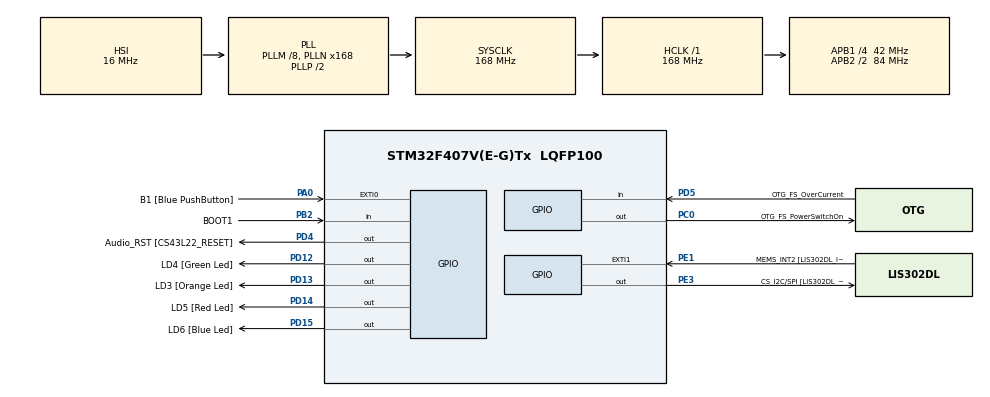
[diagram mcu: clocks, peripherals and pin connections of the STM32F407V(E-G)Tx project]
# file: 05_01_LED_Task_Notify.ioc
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Mcu.Family=STM32F4
Mcu.Name=STM32F407V(E-G)Tx
Mcu.Package=LQFP100
NVIC.PriorityGroup=NVIC_PRIORITYGROUP_4
NVIC.TIM6_DAC_IRQn=true\:0\:0\:false\:false\:true\:false\:true\:true
NVIC.TimeBase=TIM6_DAC_IRQn
NVIC.TimeBaseIP=TIM6
PA0-WKUP.GPIO_Label=B1 [Blue PushButton]
PA0-WKUP.Signal=GPXTI0
PA10.GPIO_Label=OTG_FS_ID
PA10.GPIO_Mode=GPIO_MODE_AF_PP
PA10.GPIO_PuPd=GPIO_NOPULL
PA10.GPIO_Speed=GPIO_SPEED_FREQ_LOW
PA10.Signal=USB_OTG_FS_ID
PA11.GPIO_Label=OTG_FS_DM
PA11.GPIO_Mode=GPIO_MODE_AF_PP
PA11.GPIO_PuPd=GPIO_NOPULL
PA11.GPIO_Speed=GPIO_SPEED_FREQ_LOW
PA11.Signal=USB_OTG_FS_DM
PA12.GPIO_Label=OTG_FS_DP
PA12.GPIO_Mode=GPIO_MODE_AF_PP
PA12.GPIO_PuPd=GPIO_NOPULL
PA12.GPIO_Speed=GPIO_SPEED_FREQ_LOW
PA12.Signal=USB_OTG_FS_DP
PA13.GPIO_Label=SWDIO
PA13.Mode=Serial_Wire
PA13.Signal=SYS_JTMS-SWDIO
PA14.GPIO_Label=SWCLK
PA14.Mode=Serial_Wire
PA14.Signal=SYS_JTCK-SWCLK
PA4.GPIO_Label=I2S3_WS [CS43L22_LRCK]
PA4.GPIO_Mode=GPIO_MODE_AF_PP
PA4.GPIO_PuPd=GPIO_NOPULL
PA4.GPIO_Speed=GPIO_SPEED_FREQ_LOW
PA4.Signal=I2S3_WS
PA5.GPIO_Label=SPI1_SCK [LIS302DL_SCL/SPC]
PA5.GPIO_Mode=GPIO_MODE_AF_PP
PA5.GPIO_PuPd=GPIO_NOPULL
PA5.GPIO_Speed=GPIO_SPEED_FREQ_LOW
PA5.Signal=SPI1_SCK
PA6.GPIO_Label=SPI1_MISO [LIS302DL_SDO]
PA6.GPIO_Mode=GPIO_MODE_AF_PP
PA6.GPIO_PuPd=GPIO_NOPULL
PA6.GPIO_Speed=GPIO_SPEED_FREQ_LOW
PA6.Signal=SPI1_MISO
PA7.GPIO_Label=SPI1_MOSI [LIS302DL_SDA/SDI/SDO]
PA7.GPIO_Mode=GPIO_MODE_AF_PP
PA7.GPIO_PuPd=GPIO_NOPULL
PA7.GPIO_Speed=GPIO_SPEED_FREQ_LOW
PA7.Signal=SPI1_MOSI
PA9.GPIO_Label=VBUS_FS
PA9.GPIO_Mode=GPIO_MODE_INPUT
PA9.GPIO_PuPd=GPIO_NOPULL
PA9.Signal=USB_OTG_FS_VBUS
PB10.GPIO_Label=CLK_IN [MP45DT02_CLK]
PB10.GPIO_Mode=GPIO_MODE_AF_PP
PB10.GPIO_PuPd=GPIO_NOPULL
PB10.GPIO_Speed=GPIO_SPEED_FREQ_LOW
PB10.Signal=I2S2_CK
PB2.GPIO_Label=BOOT1
PB2.GPIO_Mode=GPIO_MODE_INPUT
PB2.GPIO_PuPd=GPIO_NOPULL
PB2.Signal=GPIO_Input
PB3.GPIO_Label=SWO
PB3.Signal=SYS_JTDO-SWO
PB6.GPIO_Label=Audio_SCL [CS43L22_SCL]
PB6.GPIO_Mode=GPIO_MODE_AF_OD
PB6.GPIO_PuPd=GPIO_NOPULL
PB6.GPIO_Speed=GPIO_SPEED_FREQ_LOW
PB6.Signal=I2C1_SCL
PB9.GPIO_Label=Audio_SDA [CS43L22_SDA]
PB9.GPIO_Mode=GPIO_MODE_AF_OD
PB9.GPIO_PuPd=GPIO_NOPULL
PB9.GPIO_Speed=GPIO_SPEED_FREQ_LOW
PB9.Signal=I2C1_SDA
PC0.GPIO_Label=OTG_FS_PowerSwitchOn
PC0.GPIO_PuPd=GPIO_NOPULL
PC0.GPIO_Speed=GPIO_SPEED_FREQ_LOW
PC0.PinState=GPIO_PIN_SET
PC0.Signal=GPIO_Output
PC10.GPIO_Label=I2S3_SCK [CS43L22_SCLK]
PC10.GPIO_Mode=GPIO_MODE_AF_PP
PC10.GPIO_PuPd=GPIO_NOPULL
PC10.GPIO_Speed=GPIO_SPEED_FREQ_LOW
PC10.Signal=I2S3_CK
PC12.GPIO_Label=I2S3_SD [CS43L22_SDIN]
PC12.GPIO_Mode=GPIO_MODE_AF_PP
PC12.GPIO_PuPd=GPIO_NOPULL
PC12.GPIO_Speed=GPIO_SPEED_FREQ_LOW
PC12.Signal=I2S3_SD
PC14-OSC32_IN.GPIO_Label=PC14-OSC32_IN
PC14-OSC32_IN.Signal=RCC_OSC32_IN
PC15-OSC32_OUT.GPIO_Label=PC15-OSC32_OUT
PC15-OSC32_OUT.Signal=RCC_OSC32_OUT
PC3.GPIO_Label=PDM_OUT [MP45DT02_DOUT]
PC3.GPIO_Mode=GPIO_MODE_AF_PP
PC3.GPIO_PuPd=GPIO_NOPULL
PC3.GPIO_Speed=GPIO_SPEED_FREQ_LOW
PC3.Signal=I2S2_SD
PC7.GPIO_Label=I2S3_MCK [CS43L22_MCLK]
PC7.GPIO_Mode=GPIO_MODE_AF_PP
PC7.GPIO_PuPd=GPIO_NOPULL
PC7.GPIO_Speed=GPIO_SPEED_FREQ_LOW
PC7.Signal=I2S3_MCK
PD12.GPIO_Label=LD4 [Green Led]
PD12.GPIO_PuPd=GPIO_NOPULL
PD12.GPIO_Speed=GPIO_SPEED_FREQ_LOW
PD12.Signal=GPIO_Output
PD13.GPIO_Label=LD3 [Orange Led]
PD13.GPIO_PuPd=GPIO_NOPULL
PD13.GPIO_Speed=GPIO_SPEED_FREQ_LOW
PD13.Signal=GPIO_Output
PD14.GPIO_Label=LD5 [Red Led]
PD14.GPIO_PuPd=GPIO_NOPULL
PD14.GPIO_Speed=GPIO_SPEED_FREQ_LOW
PD14.Signal=GPIO_Output
PD15.GPIO_Label=LD6 [Blue Led]
PD15.GPIO_PuPd=GPIO_NOPULL
PD15.GPIO_Speed=GPIO_SPEED_FREQ_LOW
PD15.Signal=GPIO_Output
PD4.GPIO_Label=Audio_RST [CS43L22_RESET]
PD4.GPIO_PuPd=GPIO_NOPULL
PD4.GPIO_Speed=GPIO_SPEED_FREQ_LOW
PD4.Signal=GPIO_Output
PD5.GPIO_Label=OTG_FS_OverCurrent
PD5.GPIO_Mode=GPIO_MODE_INPUT
PD5.GPIO_PuPd=GPIO_NOPULL
PD5.Signal=GPIO_Input
PE1.GPIO_Label=MEMS_INT2 [LIS302DL_INT2]
PE1.GPIO_ModeDefaultEXTI=GPIO_MODE_EVT_RISING
PE1.GPIO_PuPd=GPIO_NOPULL
PE1.Signal=GPXTI1
PE3.GPIO_Label=CS_I2C/SPI [LIS302DL_CS_I2C/SPI]
PE3.GPIO_PuPd=GPIO_NOPULL
PE3.GPIO_Speed=GPIO_SPEED_FREQ_LOW
PE3.Signal=GPIO_Output
PH0-OSC_IN.GPIO_Label=PH0-OSC_IN
PH0-OSC_IN.Signal=RCC_OSC_IN
PH1-OSC_OUT.GPIO_Label=PH1-OSC_OUT
PH1-OSC_OUT.Signal=RCC_OSC_OUT
ProjectManager.HeapSize=0x200
ProjectManager.StackSize=0x400
ProjectManager.TargetToolchain=STM32CubeIDE
RCC.48MHZClocksFreq_Value=48000000
RCC.AHBFreq_Value=168000000
RCC.APB1CLKDivider=RCC_HCLK_DIV4
RCC.APB1Freq_Value=42000000
RCC.APB1TimFreq_Value=84000000
RCC.APB2CLKDivider=RCC_HCLK_DIV2
RCC.APB2Freq_Value=84000000
RCC.APB2TimFreq_Value=168000000
RCC.CortexFreq_Value=168000000
RCC.HCLKFreq_Value=168000000
RCC.HSE_VALUE=8000000
RCC.HSI_VALUE=16000000
RCC.LSE_VALUE=32768
RCC.PLLM=8
RCC.PLLN=168
RCC.PLLQ=7
RCC.SYSCLKFreq_VALUE=168000000
RCC.SYSCLKSource=RCC_SYSCLKSOURCE_PLLCLK
RCC.VCOOutputFreq_Value=336000000
VP_SYS_VS_tim6.Mode=TIM6
board=STM32F407G-DISC1

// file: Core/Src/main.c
/* USER CODE BEGIN Header */
/**
  ******************************************************************************
  * @file           : main.c
  * @brief          : Main program body
  ******************************************************************************
  * @attention
  *
  * Copyright (c) 2026 STMicroelectronics.
  * All rights reserved.
  *
  * This software is licensed under terms that can be found in the LICENSE file
  * in the root directory of this software component.
  * If no LICENSE file comes with this software, it is provided AS-IS.
  *
  ******************************************************************************
  */
/* USER CODE END Header */
#include "main.h"

/* USER CODE BEGIN Includes */
#include <stdio.h>
#include "FreeRTOS.h"
#include "task.h"
/* USER CODE END Includes */

/* USER CODE BEGIN PV */
#define DWT_CTRL    (*(volatile uint32_t*)0xE0001000)
/* USER CODE END PV */

void SystemClock_Config(void);
static void MX_GPIO_Init(void);
/* USER CODE BEGIN PFP */
static void Green_LED_handler(void* parameters);
static void Orange_LED_handler(void* parameters);
static void Red_LED_handler(void* parameters);
static void Button_handler(void* parameters);

void SEGGER_UART_init(U32 baud);
/* USER CODE END PFP */

/* USER CODE BEGIN 0 */
TaskHandle_t green_LED_Handle;
TaskHandle_t orange_LED_Handle;
TaskHandle_t red_LED_Handle;
TaskHandle_t button_Handle;

TaskHandle_t volatile next_Task_Handle = NULL;
/* USER CODE END 0 */

int main(void)
{

  /* USER CODE BEGIN 1 */
	BaseType_t status;
  /* USER CODE END 1 */

  /* MCU Configuration--------------------------------------------------------*/

  /* Reset of all peripherals, Initializes the Flash interface and the Systick. */
  HAL_Init();

  /* Configure the system clock */
  SystemClock_Config();

  /* Initialize all configured peripherals */
  MX_GPIO_Init();
  /* USER CODE BEGIN 2 */

  //Enable the CYCCNT counter.
   DWT_CTRL |= ( 1 << 0);

   SEGGER_UART_init(500000);

   SEGGER_SYSVIEW_Conf();

   //SEGGER_SYSVIEW_Start();

   status = xTaskCreate(Green_LED_handler, "Green_LED_Task", 200, NULL, 3, &green_LED_Handle);

   configASSERT(status == pdPASS);

   next_Task_Handle = green_LED_Handle;

   status = xTaskCreate(Orange_LED_handler, "Orange_LED_Task", 200, NULL, 2, &orange_LED_Handle);

   configASSERT(status == pdPASS);

   status = xTaskCreate(Red_LED_handler, "Red_LED_Task", 200, NULL, 1, &red_LED_Handle);

   configASSERT(status == pdPASS);

   status = xTaskCreate(Button_handler, "Button_Task", 200, NULL, 4, &button_Handle);

   configASSERT(status == pdPASS);

   //	Start the freeRTOS scheduler
   vTaskStartScheduler();
   //	If the control comes here, then the launch of the scheduler has failed due to insufficient memory in heap

  /* USER CODE END 2 */

  /* Infinite loop */
  while (1)
  {

  }
}

void SystemClock_Config(void)
{
  RCC_OscInitTypeDef RCC_OscInitStruct = {0};
  RCC_ClkInitTypeDef RCC_ClkInitStruct = {0};

  /** Configure the main internal regulator output voltage
  */
  __HAL_RCC_PWR_CLK_ENABLE();
  __HAL_PWR_VOLTAGESCALING_CONFIG(PWR_REGULATOR_VOLTAGE_SCALE1);

  /** Initializes the RCC Oscillators according to the specified parameters
  * in the RCC_OscInitTypeDef structure.
  */
  RCC_OscInitStruct.OscillatorType = RCC_OSCILLATORTYPE_HSI;
  RCC_OscInitStruct.HSIState = RCC_HSI_ON;
  RCC_OscInitStruct.HSICalibrationValue = RCC_HSICALIBRATION_DEFAULT;
  RCC_OscInitStruct.PLL.PLLState = RCC_PLL_ON;
  RCC_OscInitStruct.PLL.PLLSource = RCC_PLLSOURCE_HSI;
  RCC_OscInitStruct.PLL.PLLM = 8;
  RCC_OscInitStruct.PLL.PLLN = 168;
  RCC_OscInitStruct.PLL.PLLP = RCC_PLLP_DIV2;
  RCC_OscInitStruct.PLL.PLLQ = 7;
  if (HAL_RCC_OscConfig(&RCC_OscInitStruct) != HAL_OK)
  {
    Error_Handler();
  }

  /** Initializes the CPU, AHB and APB buses clocks
  */
  RCC_ClkInitStruct.ClockType = RCC_CLOCKTYPE_HCLK|RCC_CLOCKTYPE_SYSCLK
                              |RCC_CLOCKTYPE_PCLK1|RCC_CLOCKTYPE_PCLK2;
  RCC_ClkInitStruct.SYSCLKSource = RCC_SYSCLKSOURCE_PLLCLK;
  RCC_ClkInitStruct.AHBCLKDivider = RCC_SYSCLK_DIV1;
  RCC_ClkInitStruct.APB1CLKDivider = RCC_HCLK_DIV4;
  RCC_ClkInitStruct.APB2CLKDivider = RCC_HCLK_DIV2;

  if (HAL_RCC_ClockConfig(&RCC_ClkInitStruct, FLASH_LATENCY_5) != HAL_OK)
  {
    Error_Handler();
  }
}

static void MX_GPIO_Init(void)
{
  GPIO_InitTypeDef GPIO_InitStruct = {0};

  /* GPIO Ports Clock Enable */
  __HAL_RCC_GPIOE_CLK_ENABLE();
  __HAL_RCC_GPIOC_CLK_ENABLE();
  __HAL_RCC_GPIOH_CLK_ENABLE();
  __HAL_RCC_GPIOA_CLK_ENABLE();
  __HAL_RCC_GPIOB_CLK_ENABLE();
  __HAL_RCC_GPIOD_CLK_ENABLE();

  /*Configure GPIO pin Output Level */
  HAL_GPIO_WritePin(CS_I2C_SPI_GPIO_Port, CS_I2C_SPI_Pin, GPIO_PIN_RESET);

  /*Configure GPIO pin Output Level */
  HAL_GPIO_WritePin(OTG_FS_PowerSwitchOn_GPIO_Port, OTG_FS_PowerSwitchOn_Pin, GPIO_PIN_SET);

  /*Configure GPIO pin Output Level */
  HAL_GPIO_WritePin(GPIOD, LD4_Pin|LD3_Pin|LD5_Pin|LD6_Pin
                          |Audio_RST_Pin, GPIO_PIN_RESET);

  /*Configure GPIO pin : CS_I2C_SPI_Pin */
  GPIO_InitStruct.Pin = CS_I2C_SPI_Pin;
  GPIO_InitStruct.Mode = GPIO_MODE_OUTPUT_PP;
  GPIO_InitStruct.Pull = GPIO_NOPULL;
  GPIO_InitStruct.Speed = GPIO_SPEED_FREQ_LOW;
  HAL_GPIO_Init(CS_I2C_SPI_GPIO_Port, &GPIO_InitStruct);

  /*Configure GPIO pin : OTG_FS_PowerSwitchOn_Pin */
  GPIO_InitStruct.Pin = OTG_FS_PowerSwitchOn_Pin;
  GPIO_InitStruct.Mode = GPIO_MODE_OUTPUT_PP;
  GPIO_InitStruct.Pull = GPIO_NOPULL;
  GPIO_InitStruct.Speed = GPIO_SPEED_FREQ_LOW;
  HAL_GPIO_Init(OTG_FS_PowerSwitchOn_GPIO_Port, &GPIO_InitStruct);

  /*Configure GPIO pin : PDM_OUT_Pin */
  GPIO_InitStruct.Pin = PDM_OUT_Pin;
  GPIO_InitStruct.Mode = GPIO_MODE_AF_PP;
  GPIO_InitStruct.Pull = GPIO_NOPULL;
  GPIO_InitStruct.Speed = GPIO_SPEED_FREQ_LOW;
  GPIO_InitStruct.Alternate = GPIO_AF5_SPI2;
  HAL_GPIO_Init(PDM_OUT_GPIO_Port, &GPIO_InitStruct);

  /*Configure GPIO pin : B1_Pin */
  GPIO_InitStruct.Pin = B1_Pin;
  GPIO_InitStruct.Mode = GPIO_MODE_IT_RISING;
  GPIO_InitStruct.Pull = GPIO_NOPULL;
  HAL_GPIO_Init(B1_GPIO_Port, &GPIO_InitStruct);

  /*Configure GPIO pin : I2S3_WS_Pin */
  GPIO_InitStruct.Pin = I2S3_WS_Pin;
  GPIO_InitStruct.Mode = GPIO_MODE_AF_PP;
  GPIO_InitStruct.Pull = GPIO_NOPULL;
  GPIO_InitStruct.Speed = GPIO_SPEED_FREQ_LOW;
  GPIO_InitStruct.Alternate = GPIO_AF6_SPI3;
  HAL_GPIO_Init(I2S3_WS_GPIO_Port, &GPIO_InitStruct);

  /*Configure GPIO pins : SPI1_SCK_Pin SPI1_MISO_Pin SPI1_MOSI_Pin */
  GPIO_InitStruct.Pin = SPI1_SCK_Pin|SPI1_MISO_Pin|SPI1_MOSI_Pin;
  GPIO_InitStruct.Mode = GPIO_MODE_AF_PP;
  GPIO_InitStruct.Pull = GPIO_NOPULL;
  GPIO_InitStruct.Speed = GPIO_SPEED_FREQ_LOW;
  GPIO_InitStruct.Alternate = GPIO_AF5_SPI1;
  HAL_GPIO_Init(GPIOA, &GPIO_InitStruct);

  /*Configure GPIO pin : BOOT1_Pin */
  GPIO_InitStruct.Pin = BOOT1_Pin;
  GPIO_InitStruct.Mode = GPIO_MODE_INPUT;
  GPIO_InitStruct.Pull = GPIO_NOPULL;
  HAL_GPIO_Init(BOOT1_GPIO_Port, &GPIO_InitStruct);

  /*Configure GPIO pin : CLK_IN_Pin */
  GPIO_InitStruct.Pin = CLK_IN_Pin;
  GPIO_InitStruct.Mode = GPIO_MODE_AF_PP;
  GPIO_InitStruct.Pull = GPIO_NOPULL;
  GPIO_InitStruct.Speed = GPIO_SPEED_FREQ_LOW;
  GPIO_InitStruct.Alternate = GPIO_AF5_SPI2;
  HAL_GPIO_Init(CLK_IN_GPIO_Port, &GPIO_InitStruct);

  /*Configure GPIO pins : LD4_Pin LD3_Pin LD5_Pin LD6_Pin
                           Audio_RST_Pin */
  GPIO_InitStruct.Pin = LD4_Pin|LD3_Pin|LD5_Pin|LD6_Pin
                          |Audio_RST_Pin;
  GPIO_InitStruct.Mode = GPIO_MODE_OUTPUT_PP;
  GPIO_InitStruct.Pull = GPIO_NOPULL;
  GPIO_InitStruct.Speed = GPIO_SPEED_FREQ_LOW;
  HAL_GPIO_Init(GPIOD, &GPIO_InitStruct);

  /*Configure GPIO pins : I2S3_MCK_Pin I2S3_SCK_Pin I2S3_SD_Pin */
  GPIO_InitStruct.Pin = I2S3_MCK_Pin|I2S3_SCK_Pin|I2S3_SD_Pin;
  GPIO_InitStruct.Mode = GPIO_MODE_AF_PP;
  GPIO_InitStruct.Pull = GPIO_NOPULL;
  GPIO_InitStruct.Speed = GPIO_SPEED_FREQ_LOW;
  GPIO_InitStruct.Alternate = GPIO_AF6_SPI3;
  HAL_GPIO_Init(GPIOC, &GPIO_InitStruct);

  /*Configure GPIO pin : VBUS_FS_Pin */
  GPIO_InitStruct.Pin = VBUS_FS_Pin;
  GPIO_InitStruct.Mode = GPIO_MODE_INPUT;
  GPIO_InitStruct.Pull = GPIO_NOPULL;
  HAL_GPIO_Init(VBUS_FS_GPIO_Port, &GPIO_InitStruct);

  /*Configure GPIO pins : OTG_FS_ID_Pin OTG_FS_DM_Pin OTG_FS_DP_Pin */
  GPIO_InitStruct.Pin = OTG_FS_ID_Pin|OTG_FS_DM_Pin|OTG_FS_DP_Pin;
  GPIO_InitStruct.Mode = GPIO_MODE_AF_PP;
  GPIO_InitStruct.Pull = GPIO_NOPULL;
  GPIO_InitStruct.Speed = GPIO_SPEED_FREQ_LOW;
  GPIO_InitStruct.Alternate = GPIO_AF10_OTG_FS;
  HAL_GPIO_Init(GPIOA, &GPIO_InitStruct);

  /*Configure GPIO pin : OTG_FS_OverCurrent_Pin */
  GPIO_InitStruct.Pin = OTG_FS_OverCurrent_Pin;
  GPIO_InitStruct.Mode = GPIO_MODE_INPUT;
  GPIO_InitStruct.Pull = GPIO_NOPULL;
  HAL_GPIO_Init(OTG_FS_OverCurrent_GPIO_Port, &GPIO_InitStruct);

  /*Configure GPIO pins : Audio_SCL_Pin Audio_SDA_Pin */
  GPIO_InitStruct.Pin = Audio_SCL_Pin|Audio_SDA_Pin;
  GPIO_InitStruct.Mode = GPIO_MODE_AF_OD;
  GPIO_InitStruct.Pull = GPIO_NOPULL;
  GPIO_InitStruct.Speed = GPIO_SPEED_FREQ_LOW;
  GPIO_InitStruct.Alternate = GPIO_AF4_I2C1;
  HAL_GPIO_Init(GPIOB, &GPIO_InitStruct);

  /*Configure GPIO pin : MEMS_INT2_Pin */
  GPIO_InitStruct.Pin = MEMS_INT2_Pin;
  GPIO_InitStruct.Mode = GPIO_MODE_EVT_RISING;
  GPIO_InitStruct.Pull = GPIO_NOPULL;
  HAL_GPIO_Init(MEMS_INT2_GPIO_Port, &GPIO_InitStruct);

}

/* USER CODE BEGIN 4 */
static void Green_LED_handler(void* parameters)
{
	BaseType_t  status;
	while(1)
	{
		SEGGER_SYSVIEW_PrintfTarget("Toggle Green LED");
		HAL_GPIO_TogglePin(GPIOD, LED_GREEN_PIN);
		status = xTaskNotifyWait(0,0,NULL,pdMS_TO_TICKS(1000));
		if(status == pdTRUE)
		{
			vTaskSuspendAll();
			next_Task_Handle = orange_LED_Handle;
			xTaskResumeAll();
			HAL_GPIO_WritePin(GPIOD, LED_GREEN_PIN, GPIO_PIN_SET);
			SEGGER_SYSVIEW_PrintfTarget("Delete orange LED task");
			vTaskDelete(NULL);
		}
	}
}

static void Orange_LED_handler(void* parameters)
{
	BaseType_t  status;
	while(1)
	{
		SEGGER_SYSVIEW_PrintfTarget("Toggle Orange LED");
		HAL_GPIO_TogglePin(GPIOD, LED_ORANGE_PIN);
		status = xTaskNotifyWait(0,0,NULL,pdMS_TO_TICKS(800));
		if(status == pdTRUE)
		{
			vTaskSuspendAll();
			next_Task_Handle = red_LED_Handle;
			xTaskResumeAll();
			HAL_GPIO_WritePin(GPIOD, LED_ORANGE_PIN, GPIO_PIN_SET);
			SEGGER_SYSVIEW_PrintfTarget("Delete orange LED task");
			vTaskDelete(NULL);
		}
	}
}

static void Red_LED_handler(void* parameters)
{
	BaseType_t  status;
	while(1)
	{
		SEGGER_SYSVIEW_PrintfTarget("Toggle Red LED");
		HAL_GPIO_TogglePin(GPIOD, LED_RED_PIN);
		status = xTaskNotifyWait(0,0,NULL,pdMS_TO_TICKS(400));
		if(status == pdTRUE)
		{
			vTaskSuspendAll();
			next_Task_Handle = NULL;
			xTaskResumeAll();
			HAL_GPIO_WritePin(GPIOD, LED_RED_PIN,GPIO_PIN_SET);
			SEGGER_SYSVIEW_PrintfTarget("Delete red LED task");
			vTaskDelete(button_Handle);
			vTaskDelete(NULL);
		}
	}
}

static void Button_handler(void* parameters)
{
	uint8_t btn_read = 0;
	uint8_t prev_read = 0;
	while(1)
	{
		btn_read = HAL_GPIO_ReadPin(GPIOA, GPIO_PIN_0);
		if(btn_read)
		{
			if(! prev_read)
				xTaskNotify(next_Task_Handle,0,eNoAction);
		}
		prev_read = btn_read;
		vTaskDelay(pdMS_TO_TICKS(10));
	}
}
/* USER CODE END 4 */

void HAL_TIM_PeriodElapsedCallback(TIM_HandleTypeDef *htim)
{
  if (htim->Instance == TIM6) {
    HAL_IncTick();
  }
}

void Error_Handler(void)
{
  __disable_irq();
  while (1)
  {
  }
}
